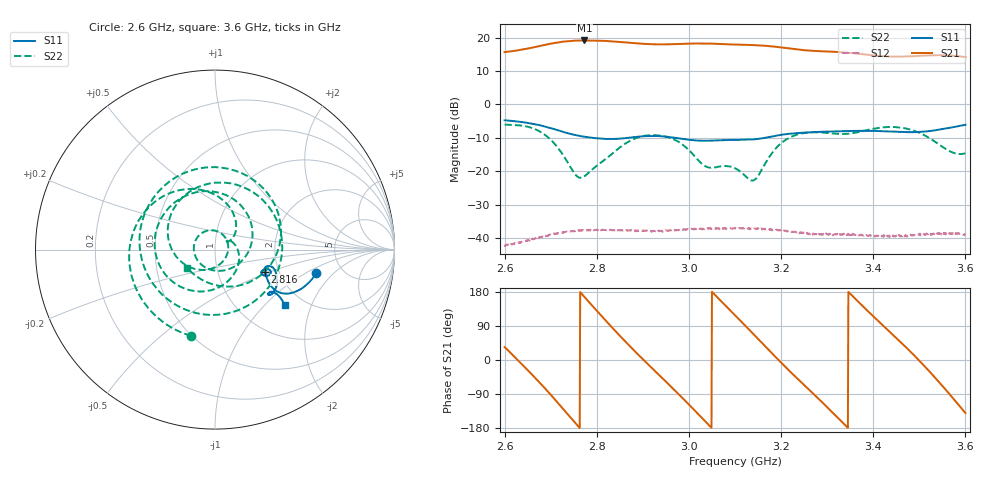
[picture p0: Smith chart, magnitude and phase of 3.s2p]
#  HZ  S  DB  R  50.00
! Rohde & Schwarz Vector Network Analyzer
! Rohde-Schwarz,ZNB8-2Port,1311601042101540,3.40
! Created: UTC 6/28/2024, 7:38:03 AM
! freq[Hz]  db:S11  ang:S11  db:S21  ang:S21  db:S12  ang:S12  db:S22  ang:S22
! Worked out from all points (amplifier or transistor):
!   1001 points, 2.6 GHz to 3.6 GHz, reference 50 ohm
!   highest |S21| = 19.2 dB at 2.773 GHz (marker M1)
!   |S21| within 3 dB of that: 2.627 GHz to 3.258 GHz (630.5 MHz wide, 21.4 % of centre)
!   unconditionally stable (mu >= 1): start of sweep to end of sweep
!   at 2.766 GHz: K = 3.75, MAG = 19.8 dB, |S12| = -37.7 dB
!   at 3.1 GHz: K = 4.23, MAG = 18.4 dB, |S12| = -37.2 dB
!   at 3.6 GHz: K = 6.16, MAG = 15.6 dB, |S12| = -38.7 dB
!   S11 on the Smith chart (normalised r, x): 2.6 GHz: 3.22, -1.27; 2.816 GHz: 1.69, -0.46; 3.6 GHz: 1.60, -1.31
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2.6e9  -4.73 -13.1  15.69 34.0  -42.35 30.1  -6.03 -105.5
2.653e9  -5.58 -24.8  16.83 -30.3  -40.74 -32.7  -6.76 161.9
2.701e9  -7.10 -33.3  18.26 -92.9  -39.01 -98.3  -10.71 85.1
2.73e9  -8.33 -33.5  18.89 -133.4  -38.22 -138.1  -15.81 43.8
2.767e9  -9.53 -29.4  19.18 175.0  -37.84 172.7  -21.96 36.3
2.773e9  -9.67 -28.7  19.19 166.7  -37.72 163.1  -21.54 36.7
2.816e9  -10.32 -24.0  19.06 108.6  -37.61 106.0  -16.70 -24.3
2.844e9  -10.30 -21.4  18.83 71.7  -37.67 70.6  -13.56 -83.2
2.878e9  -9.83 -20.3  18.42 28.7  -37.63 27.5  -10.49 -145.1
2.934e9  -9.46 -24.4  18.02 -38.1  -37.95 -40.7  -9.27 124.4
2.985e9  -10.29 -27.9  18.17 -99.0  -37.55 -98.9  -11.90 39.4
3.034e9  -10.86 -25.6  18.28 -160.2  -37.31 -161.3  -18.38 -79.9
3.1e9  -10.61 -21.9  17.96 118.1  -37.23 118.5  -19.08 102.7
3.139e9  -10.48 -18.6  17.80 69.6  -37.39 70.6  -22.81 -23.0
3.184e9  -9.50 -17.2  17.36 13.1  -37.48 14.5  -13.89 -161.3
3.267e9  -8.33 -26.2  16.11 -85.6  -38.94 -84.3  -8.34 59.5
3.344e9  -7.95 -31.8  15.51 -177.8  -38.96 -171.2  -8.79 -89.2
3.39e9  -7.89 -36.7  14.84 127.0  -39.30 133.9  -7.56 179.0
3.434e9  -8.06 -39.9  14.38 76.6  -39.62 84.9  -6.74 107.5
3.511e9  -8.11 -36.7  14.65 -15.5  -39.00 -8.0  -9.22 -2.9
3.558e9  -7.19 -35.9  14.74 -79.4  -38.49 -69.0  -13.38 -74.1
3.6e9  -6.09 -38.5  14.20 -139.9  -38.73 -132.1  -14.61 -147.3
